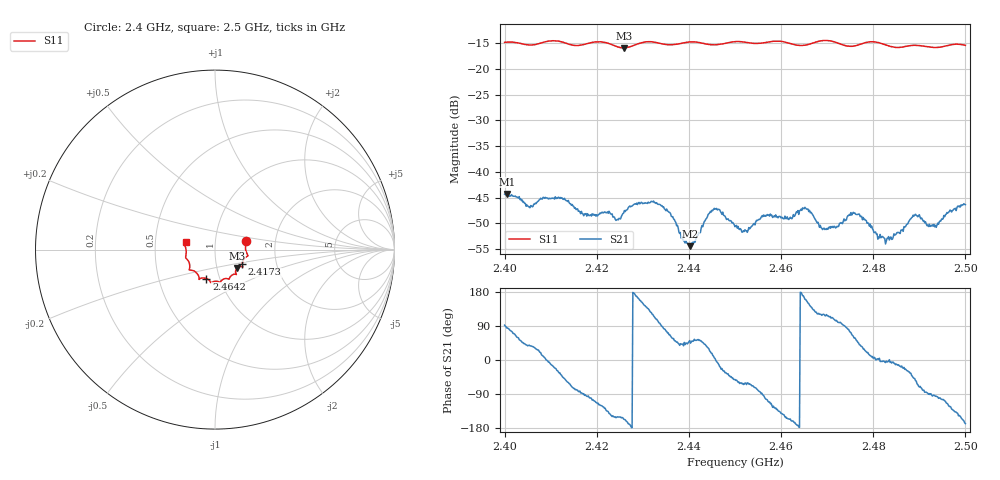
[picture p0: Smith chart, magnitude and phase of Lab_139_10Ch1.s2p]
# Hz S RI R 50
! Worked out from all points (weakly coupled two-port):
!   601 points, 2.4 GHz to 2.5 GHz, reference 50 ohm
!   highest |S21| = -44.29 dB at 2.4005 GHz (marker M1); lowest = -54.4 dB at 2.4403 GHz (marker M2)
!   lowest |S11| = -15.9 dB at 2.4258 GHz (marker M3), VSWR 1.38, Z = 62.3 - j13.2 ohm
!   |S11| at or under -10 dB: start of sweep to end of sweep
!   S12 and S22 are empty: the file has one direction only
!   S11 on the Smith chart (normalised r, x): 2.4 GHz: 1.41, +0.14; 2.4173 GHz: 1.34, -0.23; 2.4642 GHz: 0.86, -0.29; 2.5 GHz: 0.72, +0.06
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2.4e9  0.1735 0.0492  -0.000207 0.00608  0 0  0 0
2.4005e9  0.1751 0.0473  0.000613 0.00607  0 0  0 0
2.405667e9  0.17 0.00636  0.00376 0.00283  0 0  0 0
2.412167e9  0.1797 -0.0372  0.00442 -0.0035  0 0  0 0
2.416667e9  0.1529 -0.0742  0.000236 -0.00413  0 0  0 0
2.417333e9  0.1521 -0.0818  -0.000233 -0.0039  0 0  0 0
2.425833e9  0.1217 -0.1031  -0.00364 -0.00161  0 0  0 0
2.433333e9  0.1136 -0.137  -0.000965 0.00473  0 0  0 0
2.440333e9  0.0788 -0.1644  0.00136 0.00133  0 0  0 0
2.4455e9  0.0517 -0.1627  0.0044 0.000443  0 0  0 0
2.45e9  0.0288 -0.1813  0.00183 -0.0023  0 0  0 0
2.452167e9  0.0221 -0.1798  0.00134 -0.0024  0 0  0 0
2.456167e9  -0.00756 -0.1782  -0.000211 -0.0038  0 0  0 0
2.462e9  -0.0302 -0.1731  -0.00331 -0.0015  0 0  0 0
2.464167e9  -0.048 -0.1615  -0.00423 0.000102  0 0  0 0
2.466667e9  -0.0763 -0.1591  -0.00295 0.00263  0 0  0 0
2.4695e9  -0.0885 -0.1661  -0.00126 0.00245  0 0  0 0
2.4765e9  -0.1218 -0.117  0.00248 0.00296  0 0  0 0
2.483333e9  -0.1406 -0.0897  0.00235 -9.98e-05  0 0  0 0
2.488833e9  -0.1626 -0.0457  0.00248 -0.00277  0 0  0 0
2.493333e9  -0.1605 -0.0102  -0.000203 -0.00292  0 0  0 0
2.5e9  -0.1636 0.0425  -0.0047 -0.00101  0 0  0 0
